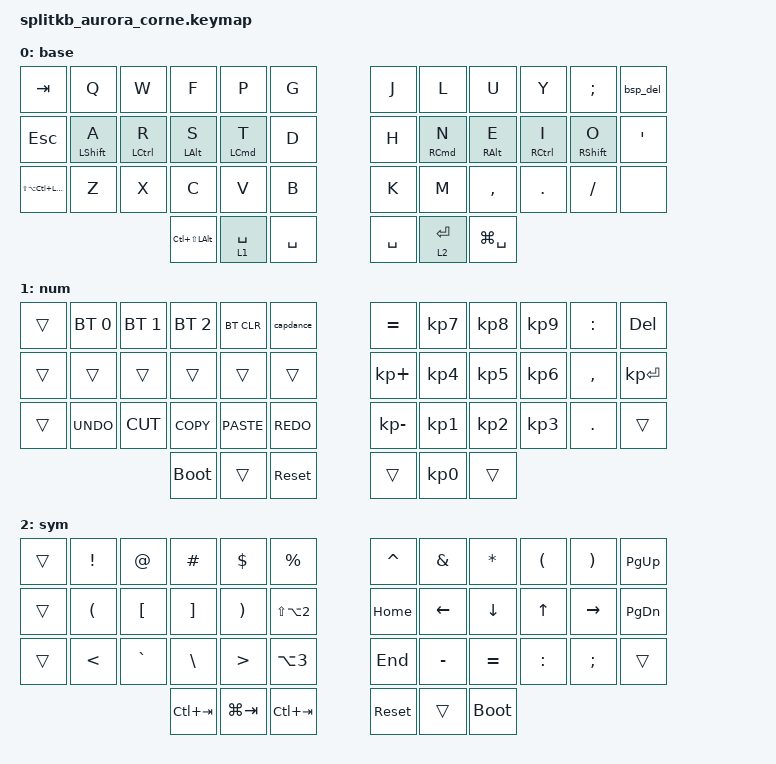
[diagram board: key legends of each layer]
#include <behaviors.dtsi>
#include <dt-bindings/zmk/bt.h>
#include <dt-bindings/zmk/keys.h>

// #include <dt-bindings/zmk/mouse.h>
// dt-formatter: indent = "  "
// dt-formatter: multilineIntegerCellsIndent = "reindent"
// dt-formatter: multilineListCommaStyle = "leading"

&sk { /delete-property/ ignore-modifiers; };

/ {
  combos {
    compatible = "zmk,combos";

    caps_word {
      key-positions = <13 22>;
      bindings = <&caps_word>;
    };

    cb_ij {
      bindings = <&m_ij>;
      key-positions = <7 8>;
    };

    cb_sch {
      bindings = <&m_sch>;
      key-positions = <4 3>;
    };

    cb_tion {
      bindings = <&m_tion>;
      key-positions = <8 9>;
    };
  };

  macros {
    m_ij: m_ij {
      compatible = "zmk,behavior-macro";
      #binding-cells = <0>;
      label = "M_IJ";
      bindings = <&kp I &kp J>;
    };

    m_sch: m_sch {
      compatible = "zmk,behavior-macro";
      #binding-cells = <0>;
      label = "M_SCH";
      bindings = <&kp S &kp C &kp H>;
    };

    m_tion: m_tion {
      compatible = "zmk,behavior-macro";
      #binding-cells = <0>;
      label = "M_TION";
      bindings = <&kp T &kp I &kp O &kp N>;
    };
  };

  behaviors {
    hml: homewrow_mods_left {
      compatible = "zmk,behavior-hold-tap";
      #binding-cells = <2>;
      label = "HOMEROW_MODS_LEFT_HAND";
      bindings = <&kp>, <&kp>;

      tapping-term-ms = <200>;
      hold-trigger-key-positions = <6 7 8 9 10 11 18 19 20 21 22 23 30 31 32 33 34 35 39 40 41>;
      quick-tap-ms = <150>;
      require-prior-idle-ms = <125>;
      flavor = "tap-preferred";
      hold-trigger-on-release;
    };

    hmr: homewrow_mods_right {
      compatible = "zmk,behavior-hold-tap";
      #binding-cells = <2>;
      label = "HOMEROW_MODS_RIGHT_HAND";
      bindings = <&kp>, <&kp>;

      tapping-term-ms = <200>;
      hold-trigger-key-positions = <0 1 2 3 4 5 12 13 14 15 16 17 24 25 26 27 28 29 36 37 38>;
      quick-tap-ms = <150>;
      require-prior-idle-ms = <125>;
      flavor = "tap-preferred";
      hold-trigger-on-release;
    };

    capdance: capdance {
      compatible = "zmk,behavior-tap-dance";
      label = "CAPDANCE";
      #binding-cells = <0>;
      bindings = <&caps_word>, <&kp CAPS>;
    };

    hol_tog: hold_toggle {
      compatible = "zmk,behavior-hold-tap";
      label = "HOLD_TOGGLE";
      bindings = <&mo>, <&tog>;

      #binding-cells = <2>;
      tapping-term-ms = <200>;
    };

    bsp_del: bsp_del {
      compatible = "zmk,behavior-mod-morph";
      label = "BSP_DEL";
      bindings = <&kp BACKSPACE>, <&kp DELETE>;

      #binding-cells = <0>;
      mods = <(MOD_LCTL)>;
    };
  };

  conditional_layers {
    compatible = "zmk,conditional-layers";

    tri_layer {
      if-layers = <1 2>;
      then-layer = <3>;
    };
  };

  keymap {
    compatible = "zmk,keymap";

    base {
      bindings = <
        &kp TAB               &kp Q         &kp W         &kp F             &kp P        &kp G        &kp J      &kp L        &kp U          &kp Y         &kp SEMICOLON  &bsp_del
        &kp ESCAPE            &hml LSHFT A  &hml LCTRL R  &hml LALT S       &hml LCMD T  &kp D        &kp H      &hmr RCMD N  &hmr RALT E    &hmr RCTRL I  &hmr RSHFT O   &kp SQT
        &kp LS(LA(LC(LGUI)))  &kp Z         &kp X         &kp C             &kp V        &kp B        &kp K      &kp M        &kp COMMA      &kp DOT       &kp FSLH       &none
                                                          &kp LC(LS(LALT))  &lt 1 SPACE  &kp SPACE    &kp SPACE  &lt 2 ENTER  &kp LG(SPACE)
      >;
    };

    num {
      bindings = <
        &trans  &bt BT_SEL 0  &bt BT_SEL 1  &bt BT_SEL 2  &bt BT_CLR   &capdance     &kp EQUAL     &kp KP_NUMBER_7  &kp KP_NUMBER_8  &kp KP_NUMBER_9  &kp COLON  &kp DELETE
        &trans  &trans        &trans        &trans        &trans       &trans        &kp KP_PLUS   &kp KP_NUMBER_4  &kp KP_NUMBER_5  &kp KP_NUMBER_6  &kp COMMA  &kp KP_ENTER
        &trans  &kp K_UNDO    &kp K_CUT     &kp K_COPY    &kp K_PASTE  &kp K_REDO    &kp KP_MINUS  &kp KP_NUMBER_1  &kp KP_NUMBER_2  &kp KP_NUMBER_3  &kp DOT    &trans
                                            &bootloader   &trans       &sys_reset    &trans        &kp KP_NUMBER_0  &trans
      >;
    };

    sym {
      bindings = <
        &trans  &kp EXCL  &kp AT     &kp HASH     &kp DLLR     &kp PRCNT               &kp CARET   &kp AMPS   &kp STAR     &kp LPAR   &kp RPAR       &kp PG_UP
        &trans  &kp LPAR  &kp LBKT   &kp RBKT     &kp RPAR     &kp LS(LA(NUMBER_2))    &kp HOME    &kp LEFT   &kp DOWN     &kp UP     &kp RIGHT      &kp PG_DN
        &trans  &kp LT    &kp GRAVE  &kp BSLH     &kp GT       &kp LA(NUMBER_3)        &kp END     &kp MINUS  &kp EQUAL    &kp COLON  &kp SEMICOLON  &trans
                                     &kp LC(TAB)  &kp LG(TAB)  &kp LC(TAB)             &sys_reset  &trans     &bootloader
      >;
    };
  };
};
